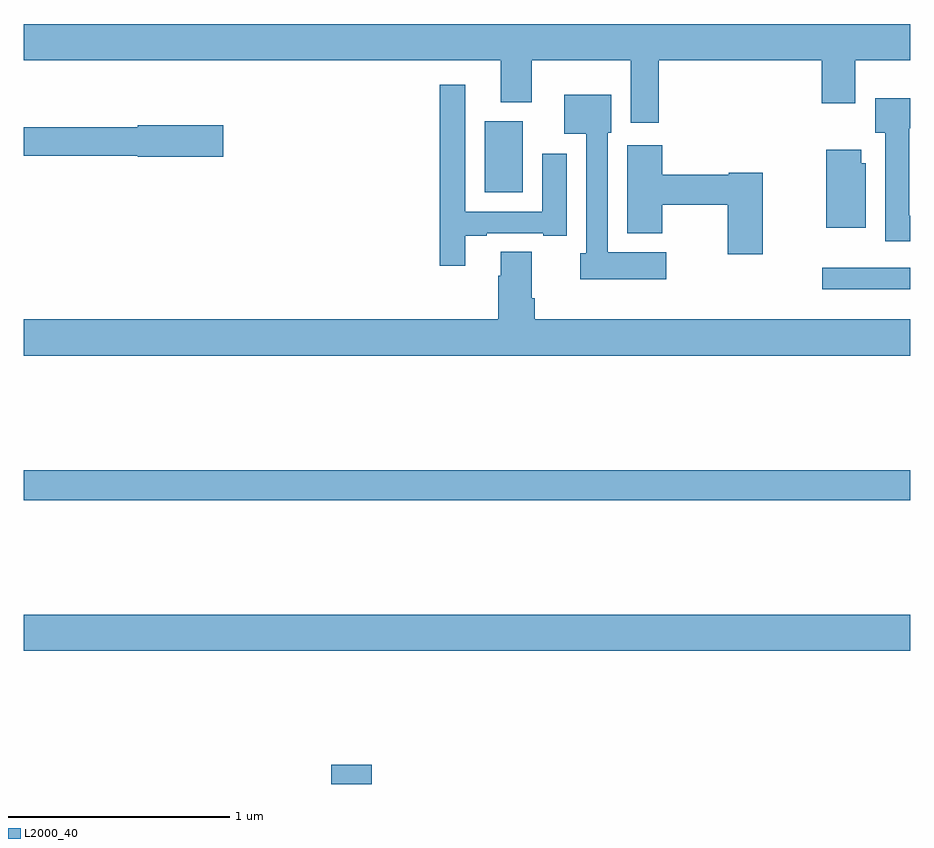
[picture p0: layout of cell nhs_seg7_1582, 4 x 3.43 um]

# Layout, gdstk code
import gdstk
lib = gdstk.Library(unit=1e-6, precision=1e-09)
def R(c, l, rs):  # rectangles x0, y0, x1, y1
    for r in rs: c.add(gdstk.rectangle(r[:2], r[2:], *l))
def P(c, l, *ps):  # polygons
    for p in ps: c.add(gdstk.Polygon(p, *l))
L2000_40 = (2000, 40)

nhs_seg7_1582 = lib.new_cell('nhs_seg7_1582')
R(nhs_seg7_1582, L2000_40, [(220.388,1016,220.571,1016.086), (219,1016.6,223,1016.764), (219,1017.28,223,1017.416), (222.603,1018.232,223,1018.329), (221.081,1018.67,221.251,1018.99)])
P(nhs_seg7_1582, L2000_40, [(221.864,1019.264),(222.599,1019.264),(222.599,1019.07),(222.751,1019.07),(222.751,1019.264),(223,1019.264),(223,1019.428),(219,1019.428),(219,1019.264),(221.153,1019.264),(221.153,1019.075),(221.293,1019.075),(221.293,1019.264),(221.738,1019.264),(221.738,1018.983),(221.864,1018.983)],
  [(220.993,1018.473),(221.089,1018.473),(221.089,1018.485),(221.345,1018.485),(221.345,1018.473),(221.449,1018.473),(221.449,1018.843),(221.339,1018.843),(221.339,1018.581),(220.992,1018.581),(220.992,1019.155),(220.876,1019.155),(220.876,1018.338),(220.993,1018.338)],
  [(221.899,1018.399),(221.634,1018.399),(221.634,1018.938),(221.65,1018.938),(221.65,1019.11),(221.438,1019.11),(221.438,1018.934),(221.538,1018.934),(221.538,1018.395),(221.51,1018.395),(221.51,1018.277),(221.899,1018.277)],
  [(223,1018.562),(222.994,1018.562),(222.994,1018.958),(223,1018.958),(223,1019.092),(222.842,1019.092),(222.842,1018.938),(222.887,1018.938),(222.887,1018.449),(223,1018.449)],
  [(219.901,1018.971),(219.516,1018.971),(219.516,1018.963),(219,1018.963),(219,1018.834),(219.516,1018.834),(219.516,1018.829),(219.901,1018.829)],
  [(222.334,1018.756),(222.18,1018.756),(222.18,1018.748),(221.88,1018.748),(221.88,1018.882),(221.723,1018.882),(221.723,1018.484),(221.88,1018.484),(221.88,1018.612),(222.176,1018.612),(222.176,1018.389),(222.334,1018.389)],
  [(222.799,1018.8),(222.778,1018.8),(222.778,1018.861),(222.62,1018.861),(222.62,1018.508),(222.799,1018.508)],
  [(223,1018.096),(221.306,1018.096),(221.306,1018.192),(221.293,1018.192),(221.293,1018.4),(221.153,1018.4),(221.153,1018.292),(221.141,1018.292),(221.141,1018.096),(219,1018.096),(219,1017.932),(223,1017.932)])

lib.write_gds('nhs_seg7_1582.gds')
